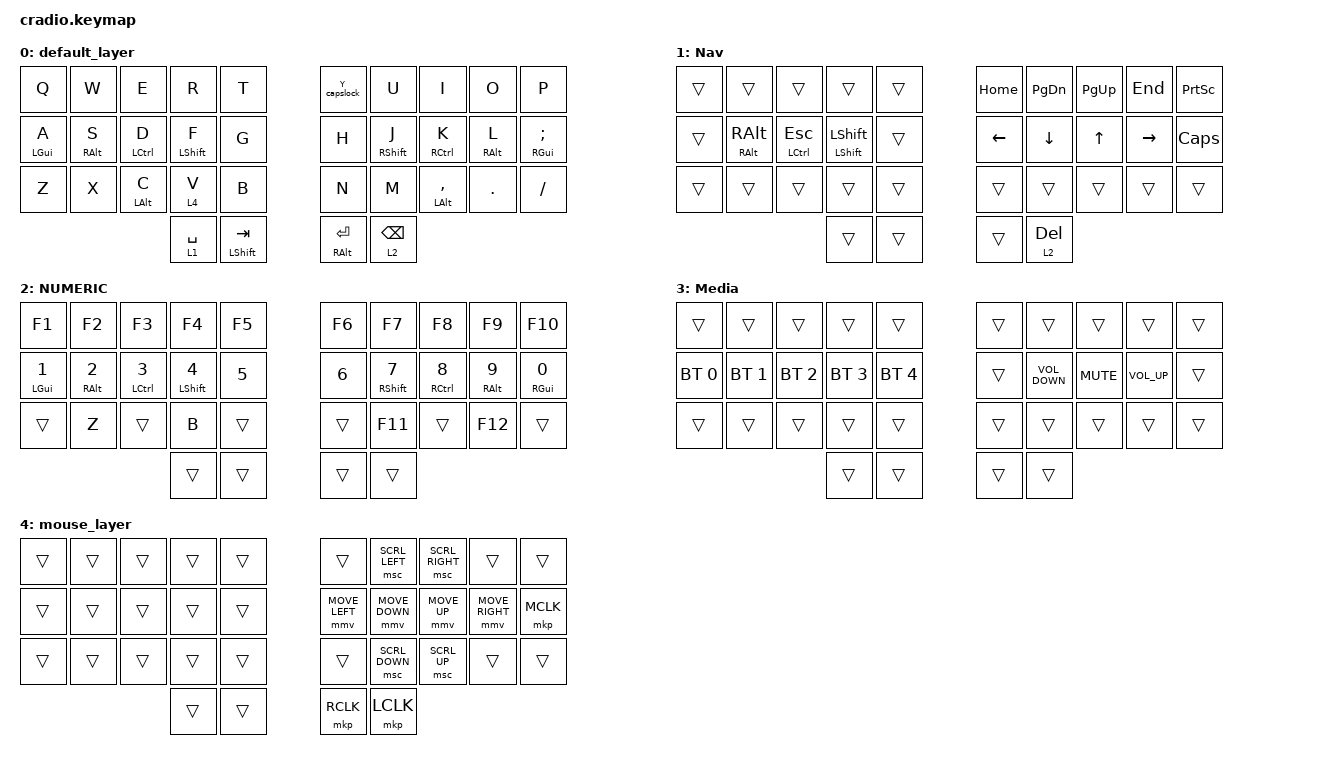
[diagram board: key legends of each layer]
/*
 * Copyright (c) 2020 The ZMK Contributors
 *
 * SPDX-License-Identifier: MIT
 */

#include "ergol.h"
#include <dt-bindings/zmk/mouse.h>
#include <behaviors.dtsi>
#include <dt-bindings/zmk/bt.h>
#include <dt-bindings/zmk/keys.h>
#include <dt-bindings/zmk/pointing.h>

#define ZMK_POINTING_DEFAULT_MOVE_VAL 800  // Valeur du hummingbird
#define ZMK_POINTING_DEFAULT_SCRL_VAL 10   // Valeur du cradio
#define DEF_L 0
#define NAV_L 1
#define NUM_L 2
#define SYM_L 3
#define MOUSE_L 4

// Using layer taps on thumbs, having quick tap as well helps w/ repeating space/backspace

/ {
    behaviors {
        hml: hml {
            compatible = "zmk,behavior-hold-tap";
            flavor = "balanced";
            tapping-term-ms = <280>;
            quick-tap-ms = <175>;
            #binding-cells = <2>;
            bindings = <&kp>, <&kp>;

            // Utilise les positions de touches du cradio

            hold-trigger-key-positions = <5 6 7 8 9 15 16 17 18 19 25 26 27 28 29 32 33 30 31>;
            require-prior-idle-ms = <150>;
            hold-trigger-on-release;
        };

        hmr: hmr {
            compatible = "zmk,behavior-hold-tap";
            flavor = "balanced";
            tapping-term-ms = <280>;
            quick-tap-ms = <175>;
            #binding-cells = <2>;
            bindings = <&kp>, <&kp>;

            hold-trigger-key-positions = <0 1 2 3 4 10 11 12 13 14 20 21 22 23 24 31 30 32 33>;
            require-prior-idle-ms = <150>;
            hold-trigger-on-release;
        };

        hroa: hroa {
            compatible = "zmk,behavior-hold-tap";
            flavor = "balanced";
            tapping-term-ms = <200>;
            quick-tap-ms = <150>;
            #binding-cells = <2>;
            bindings = <&kp>, <&open_angle_quote>;

            hold-trigger-key-positions = <5 6 7 8 9 15 16 17 18 19 25 26 27 28 29 32 33 30 31>;
            require-prior-idle-ms = <100>;
            hold-trigger-on-release;
            label = "HROA";
        };

        hrl: hrl {
            compatible = "zmk,behavior-hold-tap";
            flavor = "balanced";
            tapping-term-ms = <280>;
            quick-tap-ms = <175>;
            #binding-cells = <2>;
            bindings = <&mo>, <&kp>;

            hold-trigger-key-positions = <5 6 7 8 9 15 16 17 18 19 25 26 27 28 29 32 33 30 31>;
            require-prior-idle-ms = <150>;
            hold-trigger-on-release;
            label = "HRL";
        };

        f_hml: f_hml {
            compatible = "zmk,behavior-hold-tap";
            flavor = "balanced";
            tapping-term-ms = <200>;
            quick-tap-ms = <150>;
            #binding-cells = <2>;
            bindings = <&kp>, <&kp>;

            hold-trigger-key-positions = <5 6 7 8 9 15 16 17 18 19 25 26 27 28 29 32 33 30 31>;
            require-prior-idle-ms = <100>;
            hold-trigger-on-release;
            label = "F_HML";
        };

        f_hmr: f_hmr {
            compatible = "zmk,behavior-hold-tap";
            flavor = "balanced";
            tapping-term-ms = <200>;
            quick-tap-ms = <150>;
            #binding-cells = <2>;
            bindings = <&kp>, <&kp>;

            hold-trigger-key-positions = <0 1 2 3 4 10 11 12 13 14 20 21 22 23 24 31 30 32 33>;
            require-prior-idle-ms = <100>;
            hold-trigger-on-release;
            label = "F_HMR";
        };

        Y_capslock: Y_capslock {
            compatible = "zmk,behavior-tap-dance";
            label = "Y_CAPSLOCK";
            #binding-cells = <0>;
            bindings = <&kp Y>, <&kp CAPSLOCK>;
        };

        cal_l: cal_l {
            compatible = "zmk,behavior-hold-tap";
            flavor = "balanced";
            tapping-term-ms = <280>;
            quick-tap-ms = <175>;
            #binding-cells = <2>;
            bindings = <&kp>, <&sk>;

            hold-trigger-key-positions = <5 6 7 8 9 15 16 17 18 19 25 26 27 28 29 32 33 30 31>;
            require-prior-idle-ms = <150>;
            hold-trigger-on-release;
            label = "CAL_L";
        };
    };

    combos {
        compatible = "zmk,combos";

        // Combos du cradio conservés

        Esc {
            bindings = <&caps_word>;
            key-positions = <31 30>;
        };

        Del {
            bindings = <&mt RIGHT_ALT DELETE>;
            key-positions = <33 32>;
        };

        Media {
            bindings = <&mo 3>; // Layer SYM_L (Media)
            key-positions = <31 32>;
        };

        Ralt {
            bindings = <&kp RIGHT_ALT>;
            key-positions = <30 33>;
        };

        // Combos du hummingbird adaptés

        ClrBlutooth {
            bindings = <&bt BT_CLR_ALL>;
            key-positions = <11 12 13>;
            layers = <3>;
        };

        fast_esc {
            bindings = <&kp ESC>;
            key-positions = <11 12>;
            timeout-ms = <15>;
            require-prior-idle-ms = <125>;
        };

        fast_tab {
            bindings = <&kp TAB>;
            key-positions = <12 13>;
            timeout-ms = <15>;
            require-prior-idle-ms = <125>;
        };

        fast_bksp {
            bindings = <&kp BACKSPACE>;
            key-positions = <17 16>;
            timeout-ms = <15>;
            require-prior-idle-ms = <125>;
        };

        fast_enter {
            bindings = <&kp ENTER>;
            key-positions = <17 18>;
            timeout-ms = <15>;
            require-prior-idle-ms = <125>;
        };

        OneShotShiftLeft {
            bindings = <&sk LEFT_SHIFT>;
            key-positions = <1 2>;
        };

        OneShotShiftRight {
            bindings = <&sk RIGHT_SHIFT>;
            key-positions = <8 7>;
        };

        // Combos pour lettres spécifiques du hummingbird
        // Conserve les BestB et BestDot du cradio
    };

    macros {
        open_angle_quote: open_angle_quote {
            compatible = "zmk,behavior-macro";
            #binding-cells = <0>;
            bindings = <&kp LS(NUMBER_2) &kp LS(SPACE)>;
            label = "OPEN_ANGLE_QUOTE";
        };

        closed_angle_quote: closed_angle_quote {
            compatible = "zmk,behavior-macro";
            #binding-cells = <0>;
            bindings = <&kp LS(SPACE) &kp LS(NUMBER_3)>;
            label = "CLOSED_ANGLE_QUOTE";
        };

        Vim_change_window: Vim_change_window {
            compatible = "zmk,behavior-macro";
            #binding-cells = <0>;
            bindings = <&kp LC(T) &kp T>;
            label = "VIM_CHANGE_WINDOW";
        };

        vim_reduce_x: vim_reduce_x {
            compatible = "zmk,behavior-macro";
            #binding-cells = <0>;
            bindings = <&kp LC(T) &kp RA(W)>;
            label = "VIM_REDUCE_X";
        };

        vim_increase_x: vim_increase_x {
            compatible = "zmk,behavior-macro";
            #binding-cells = <0>;
            bindings = <&kp LC(T) &kp RA(E)>;
            label = "VIM_INCREASE_X";
        };

        vim_decrease_y: vim_decrease_y {
            compatible = "zmk,behavior-macro";
            #binding-cells = <0>;
            bindings = <&kp LC(T) &kp RA(K)>;
            label = "VIM_DECREASE_Y";
        };

        vim_increase_y: vim_increase_y {
            compatible = "zmk,behavior-macro";
            #binding-cells = <0>;
            bindings = <&kp LC(T) &kp RA(J)>;
            label = "VIM_INCREASE_Y";
        };
    };

    keymap {
        compatible = "zmk,keymap";

        default_layer {
            bindings = <
&kp Q        &kp W        &kp E         &kp R           &kp T                 &Y_capslock          &kp U           &kp I            &kp O        &kp P
&hml LGUI A  &hml RALT S  &hml LCTRL D  &f_hml LSHFT F  &kp G                 &kp H                &f_hmr RSHFT J  &hmr RCTRL K     &hmr RALT L  &hmr RGUI SEMICOLON
&kp Z        &kp X        &hml LALT C   &hrl 4 V        &kp B                 &kp N                &kp M           &hmr LALT COMMA  &kp DOT      &kp FSLH
                                        &lt 1 SPACE     &mt LEFT_SHIFT TAB    &mt RIGHT_ALT ENTER  &lt 2 BSPC
            >;
        };

        nav_layer {
            display-name = "Nav";
            bindings = <
&trans  &trans                      &trans             &trans                        &trans    &kp HOME  &kp PAGE_DOWN  &kp PG_UP     &kp END    &kp PRINTSCREEN
&trans  &cal_l RIGHT_ALT RIGHT_ALT  &hml LCTRL ESCAPE  &cal_l LEFT_SHIFT LEFT_SHIFT  &trans    &kp LEFT  &kp DOWN       &kp UP_ARROW  &kp RIGHT  &kp CAPS
&trans  &trans                      &trans             &trans                        &trans    &trans    &trans         &trans        &trans     &trans
                                                       &trans                        &trans    &trans    &lt 2 DELETE
            >;
        };

        num_layer {
            display-name = "NUMERIC";
            bindings = <
&kp F1        &kp F2        &kp F3         &kp F4                &kp F5    &kp F6  &kp F7                 &kp F8         &kp F9             &kp F10
&hml LGUI N1  &hml RALT N2  &hml LCTRL N3  &f_hml LEFT_SHIFT N4  &kp N5    &kp N6  &f_hmr RIGHT_SHIFT N7  &hmr RCTRL N8  &hmr RIGHT_ALT N9  &hmr RIGHT_GUI N0
&trans        &kp Z         &trans         &kp B                 &trans    &trans  &kp F11                &trans         &kp F12            &trans
                                           &trans                &trans    &trans  &trans
            >;
        };

        sym_layer {
            display-name = "Media";
            bindings = <
&trans        &trans        &trans        &trans        &trans          &trans  &trans             &trans      &trans           &trans
&bt BT_SEL 0  &bt BT_SEL 1  &bt BT_SEL 2  &bt BT_SEL 3  &bt BT_SEL 4    &trans  &kp C_VOLUME_DOWN  &kp C_MUTE  &kp C_VOLUME_UP  &trans
&trans        &trans        &trans        &trans        &trans          &trans  &trans             &trans      &trans           &trans
                                          &trans        &trans          &trans  &trans
            >;
        };

        mouse_layer {
            bindings = <
&trans  &trans  &trans  &trans  &trans    &trans          &msc SCRL_LEFT  &msc SCRL_RIGHT  &trans           &trans
&trans  &trans  &trans  &trans  &trans    &mmv MOVE_LEFT  &mmv MOVE_DOWN  &mmv MOVE_UP     &mmv MOVE_RIGHT  &mkp MCLK
&trans  &trans  &trans  &trans  &trans    &trans          &msc SCRL_DOWN  &msc SCRL_UP     &trans           &trans
                        &trans  &trans    &mkp RCLK       &mkp LCLK
            >;
        };
    };

    conditional_layers {
        compatible = "zmk,conditional-layers";

        MediaLayer {
            if-layers = <1 2>;
            then-layer = <3>;
        };
    };
};
